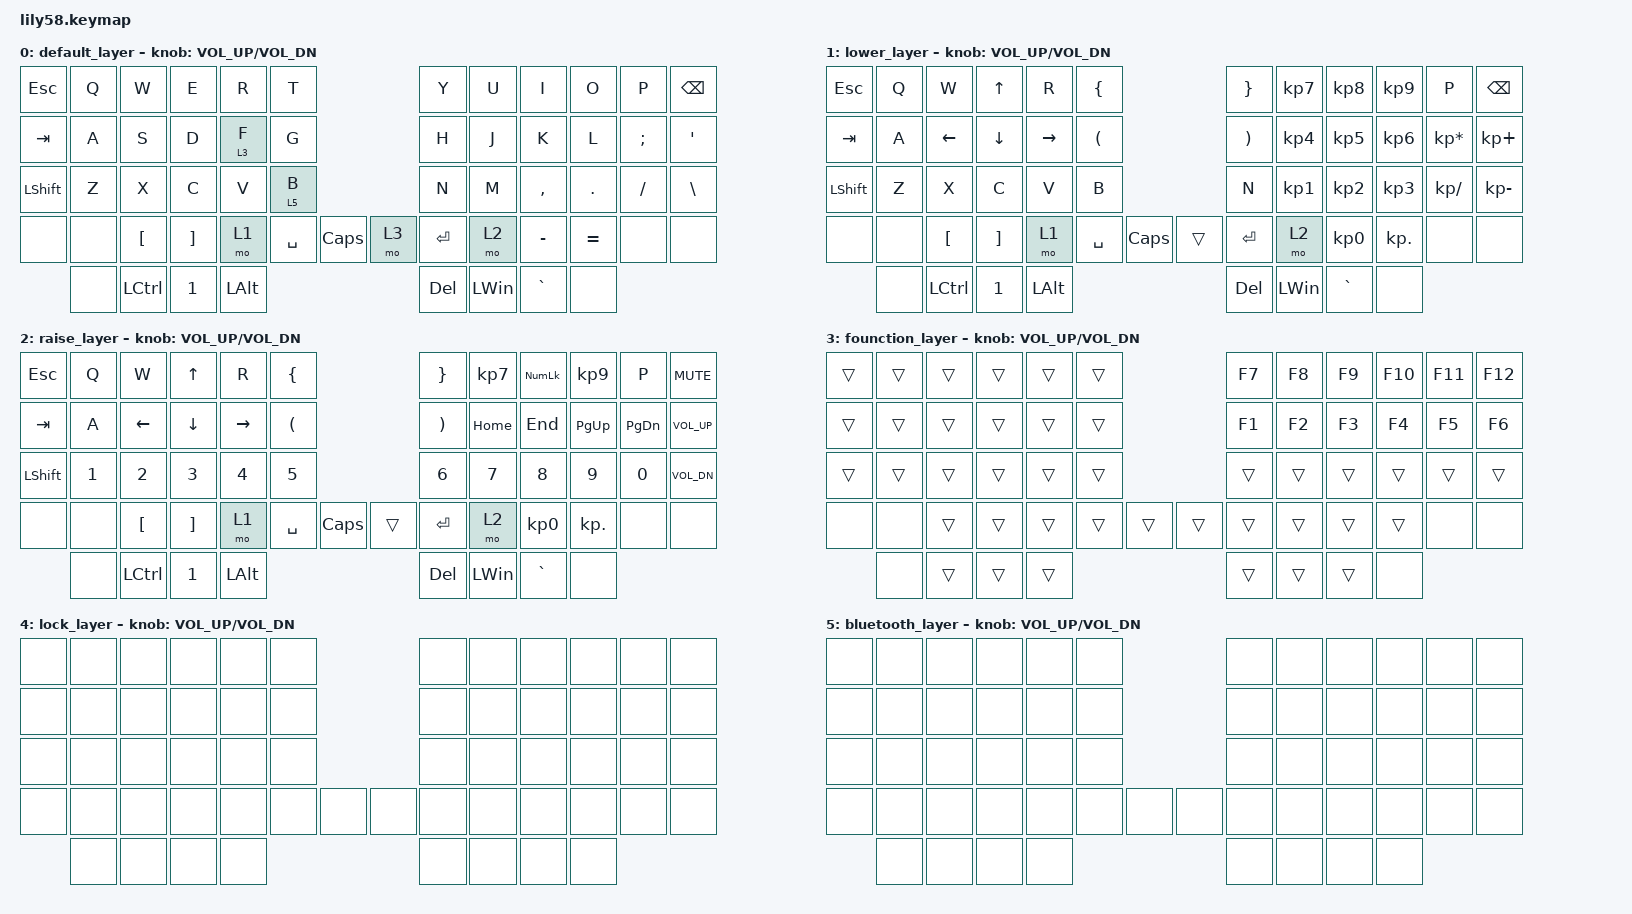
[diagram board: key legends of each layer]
/*
 * Copyright (c) 2020 The ZMK Contributors
 *
 * SPDX-License-Identifier: MIT
 */

#include <behaviors.dtsi>
#include <dt-bindings/zmk/keys.h>
#include <dt-bindings/zmk/bt.h>
#include <dt-bindings/zmk/ext_power.h>

/ {

    macros {
        macro_underscore: macro_underscore {    //ASCII码下划线宏
            compatible = "zmk,behavior-macro";
            #binding-cells = <0>;
            bindings
                = <&macro_press &kp LALT &mo 1>
                , <&macro_tap &kp KP_N9 &kp KP_N5>
                , <&macro_release &kp LALT &mo 1>
                ;
        };
        macro_multiply: macro_multiply {    //ASCII码乘号宏
            compatible = "zmk,behavior-macro";
            #binding-cells = <0>;
            bindings
                = <&macro_press &kp LALT &mo 1>
                , <&macro_tap &kp KP_N2 &kp KP_N1 &kp KP_N5>
                , <&macro_release &kp LALT &mo 1>
                ;
        };      
        macro_todo: macro_todo {    //todo list 宏
            compatible = "zmk,behavior-macro";
            #binding-cells = <0>;
            bindings
                = <&macro_tap &kp KP_MINUS &kp SPACE &kp LBKT &kp SPACE &kp RBKT &kp SPACE>
                ;
        };      
    };


    keymap {
        compatible = "zmk,keymap";

        default_layer {
// ------------------------------------------------------------------------------------------------------------
// |  ESC  |  1  |  2  |  3   |  4   |  5   |                   |  6   |  7    |  8    |  9   |   0   |   `   |
// |  TAB  |  Q  |  W  |  E   |  R   |  T   |                   |  Y   |  U    |  I    |  O   |   P   |   -   |
// |  CTRL |  A  |  S  |  D   |  F   |  G   |                   |  H   |  J    |  K    |  L   |   ;   |   '   |
// | SHIFT |  Z  |  X  |  C   |  V   |  B   |   "["  |  |  "]"  |  N   |  M    |  ,    |  .   |   /   | SHIFT |
//                     | ALT  | GUI  | LOWER|  SPACE |  | ENTER | RAISE| BSPC  | GUI   |
            bindings = <
&kp ESC         &kp Q     &kp W       &kp E      &kp R        &kp T                                 &kp Y      &kp U      &kp I       &kp O     &kp P       &kp BSPC
&kp TAB         &kp A     &kp S       &kp D      &lt 3 F      &kp G                                 &kp H      &kp J      &kp K       &kp L     &kp SEMI    &kp SQT
&kp LSHFT       &kp Z     &kp X       &kp C      &kp V        &lt 5 B                               &kp N      &kp M      &kp COMMA   &kp DOT   &kp SLASH   &kp BSLH
&none           &none     &kp LBKT    &kp RBKT   &mo 1        &kp SPACE    &kp CAPS       &mo 3     &kp ENTER  &mo 2      &kp MINUS   &kp EQUAL &none       &none
                &none     &kp LCTRL   &kp N1     &kp LALT                                           &kp DEL    &kp LWIN   &kp GRAVE   &none
            >;

            sensor-bindings = <&inc_dec_kp C_VOL_UP C_VOL_DN>;
        };

        lower_layer {
// ------------------------------------------------------------------------------------------------------------
// | BTCLR | BT1 | BT2 |  BT3 |  BT4 |  BT5 |                   |      |       |       |      |       |       |
// |  F1   |  F2 |  F3 |  F4  |  F5  |  F6  |                   |  F7  |  F8   |  F9   |  F10 |  F11  |  F12  |
// |   `   |  !  |  @  |  #   |  $   |  %   |                   |  ^   |  &    |  *    |  (   |   )   |   ~   |
// |       |     |     |      |      |      |        |  |       |      |  _    |  +    |  {   |   }   |  "|"  |
//                     |      |      |      |        |  |       |      |       |       |
            bindings = <
&kp ESC         &kp Q     &kp W       &kp UP     &kp R        &kp LBRC                                 &kp RBRC      &kp KP_N7      &kp KP_N8       &kp KP_N9       &kp P              &kp BSPC
&kp TAB         &kp A     &kp LEFT    &kp DOWN   &kp RIGHT    &kp LPAR                                 &kp RPAR      &kp KP_N4      &kp KP_N5       &kp KP_N6       &kp KP_MULTIPLY    &kp KP_PLUS
&kp LSHFT       &kp Z     &kp X       &kp C      &kp V        &kp B                                    &kp N         &kp KP_N1      &kp KP_N2       &kp KP_N3       &kp KP_DIVIDE      &kp KP_MINUS
&none           &none     &kp LBKT    &kp RBKT   &mo 1        &kp SPACE    &kp CAPS           &trans   &kp ENTER     &mo 2          &kp KP_N0       &kp KP_DOT      &none              &none
                &none     &kp LCTRL   &kp N1     &kp LALT                                              &kp DEL       &kp LWIN       &kp GRAVE       &none
            >;

            sensor-bindings = <&inc_dec_kp C_VOL_UP C_VOL_DN>;
        };

        raise_layer {
// ------------------------------------------------------------------------------------------------------------
// |       |     |     |      |      |      |                   |      |       |       |      |       |       |
// |   `   |  1  |  2  |  3   |  4   |  5   |                   |  6   |   7   |   8   |  9   |   0   |       |
// |   F1  |  F2 |  F3 |  F4  |  F5  |  F6  |                   |      |   <-  |   v   |  ^   |  ->   |       |
// |   F7  |  F8 |  F9 |  F10 |  F11 |  F12 |        |  |       |  +   |   -   |   =   |  [   |   ]   |   \   |
//                     |      |      |      |        |  |       |      |       |       |
            bindings = <
&kp ESC         &kp Q     &kp W       &kp UP     &kp R        &kp LBRC                                 &kp RBRC      &kp KP_N7      &kp KP_NUMLOCK   &kp KP_N9       &kp P              &kp C_MUTE
&kp TAB         &kp A     &kp LEFT    &kp DOWN   &kp RIGHT    &kp LPAR                                 &kp RPAR      &kp HOME       &kp END          &kp PG_UP       &kp PG_DN          &kp C_VOL_UP
&kp LSHFT       &kp N1    &kp N2      &kp N3     &kp N4       &kp N5                                   &kp N6        &kp N7         &kp N8           &kp N9          &kp N0             &kp C_VOL_DN
&none           &none     &kp LBKT    &kp RBKT   &mo 1        &kp SPACE    &kp CAPS           &trans   &kp ENTER     &mo 2          &kp KP_N0        &kp KP_DOT      &none              &none
                &none     &kp LCTRL   &kp N1     &kp LALT                                              &kp DEL       &kp LWIN       &kp GRAVE        &none
            >;

            sensor-bindings = <&inc_dec_kp C_VOL_UP C_VOL_DN>;
        };

        founction_layer {
// ------------------------------------------------------------------------------------------------------------
// |       |     |     |      |      |      |                   |      |       |       |      |       |       |
// |   `   |  1  |  2  |  3   |  4   |  5   |                   |  6   |   7   |   8   |  9   |   0   |       |
// |   F1  |  F2 |  F3 |  F4  |  F5  |  F6  |                   |      |   <-  |   v   |  ^   |  ->   |       |
// |   F7  |  F8 |  F9 |  F10 |  F11 |  F12 |        |  |       |  +   |   -   |   =   |  [   |   ]   |   \   |
//                     |      |      |      |        |  |       |      |       |       |
            bindings = <
&trans         &trans     &trans    &trans   &trans    &trans                                 &kp F7      &kp F8      &kp F9      &kp F10      &kp F11    &kp F12
&trans         &trans     &trans    &trans   &trans    &trans                                 &kp F1      &kp F2      &kp F3      &kp F4       &kp F5     &kp F6
&trans         &trans     &trans    &trans   &trans    &trans                                 &trans      &trans      &trans      &trans       &trans     &trans
&none          &none      &trans    &trans   &trans    &trans    &trans           &trans      &trans      &trans      &trans      &trans       &none      &none
               &none      &trans    &trans   &trans                                           &trans      &trans      &trans      &none
            >;

            sensor-bindings = <&inc_dec_kp C_VOL_UP C_VOL_DN>;
        };

        lock_layer {
// ------------------------------------------------------------------------------------------------------------
// |       |     |     |      |      |      |                   |      |       |       |      |       |       |
// |   `   |  1  |  2  |  3   |  4   |  5   |                   |  6   |   7   |   8   |  9   |   0   |       |
// |   F1  |  F2 |  F3 |  F4  |  F5  |  F6  |                   |      |   <-  |   v   |  ^   |  ->   |       |
// |   F7  |  F8 |  F9 |  F10 |  F11 |  F12 |        |  |       |  +   |   -   |   =   |  [   |   ]   |   \   |
//                     |      |      |      |        |  |       |      |       |       |
            bindings = <
&none         &none     &none    &none   &none    &none                                 &none      &none      &none      &none      &none      &none
&none         &none     &none    &none   &none    &none                                 &none      &none      &none      &none       &none     &none
&none         &none     &none    &none   &none    &none                                 &none      &none      &none      &none       &none     &none
&none         &none     &none    &none   &none    &none    &none           &none        &none      &none      &none      &none       &none     &none
              &none     &none    &none   &none                                          &none      &none      &none      &none
            >;

            sensor-bindings = <&inc_dec_kp C_VOL_UP C_VOL_DN>;
        };

        bluetooth_layer {
// ------------------------------------------------------------------------------------------------------------
// |       |     |     |      |      |      |                   |      |       |       |      |       |       |
// |   `   |  1  |  2  |  3   |  4   |  5   |                   |  6   |   7   |   8   |  9   |   0   |       |
// |   F1  |  F2 |  F3 |  F4  |  F5  |  F6  |                   |      |   <-  |   v   |  ^   |  ->   |       |
// |   F7  |  F8 |  F9 |  F10 |  F11 |  F12 |        |  |       |  +   |   -   |   =   |  [   |   ]   |   \   |
//                     |      |      |      |        |  |       |      |       |       |
            bindings = <
&none         &none     &none    &none   &none    &none                                 &none      &none      &none      &none      &none      &none
&none         &none     &none    &none   &none    &none                                 &none      &none      &none      &none       &none     &none
&none         &none     &none    &none   &none    &none                                 &none      &none      &none      &none       &none     &none
&none         &none     &none    &none   &none    &none    &none           &none        &none      &none      &none      &none       &none     &none
              &none     &none    &none   &none                                          &none      &none      &none      &none
            >;

            sensor-bindings = <&inc_dec_kp C_VOL_UP C_VOL_DN>;
        };

    };

    combos {
        compatible = "zmk,combos";
        combo_tab { //A+S=Tab
            timeout-ms = <50>;
            key-positions = <13 14>;
            bindings = <&kp TAB>;
            layers = <0>;
        };
        combo_underscore {  //B+N=_ (通过ASCII码的宏实现，宏定义见文件开头)
            timeout-ms = <50>;
            key-positions = <29 30>;
            bindings = <&macro_underscore>;
            layers = <0>;
        };
        combo_minus {   //G+H=-
            timeout-ms = <50>;
            key-positions = <17 18>;
            bindings = <&kp KP_MINUS>;
            layers = <0>;
        };       
        combo_LeftBrace {   //V+B={
            timeout-ms = <50>;
            key-positions = <28 29>;
            bindings = <&kp LBRC>;
            layers = <0>;
        };    
        combo_RightBrace {  //N+M=}
            timeout-ms = <50>;
            key-positions = <30 31>;
            bindings = <&kp RBRC>;
            layers = <0>;
        };        
        combo_LeftParenthesis { //F+G=(
            timeout-ms = <50>;
            key-positions = <16 17>;
            bindings = <&kp LPAR>;
            layers = <0>;
        };          
        combo_RightParenthesis {    //H+J=)
            timeout-ms = <50>;
            key-positions = <18 19>;
            bindings = <&kp RPAR>;
            layers = <0>;
        };   
        combo_LeftBracket { //R+T=[
            timeout-ms = <50>;
            key-positions = <4 5>;
            bindings = <&kp LBKT>;
            layers = <0>;
        };    
        combo_RightBracket {    //Y+U=]
            timeout-ms = <50>;
            key-positions = <6 7>;
            bindings = <&kp RBKT>;
            layers = <0>;
        };
        combo_equal {   //"/?"+"\|"="="(默认层和数字层均生效)
            timeout-ms = <50>;
            key-positions = <34 35>;
            bindings = <&kp EQUAL>;
            layers = <0 1>;
        };  
        combo_dot { //".>"+"/?"="."(仅在数字层生效)
            timeout-ms = <50>;
            key-positions = <33 34>;
            bindings = <&kp KP_DOT>;
            layers = <1>;
        };                   
        combo_tilde {   //T+Y=_或——(根据输入法状态输出不同)
            timeout-ms = <50>;
            key-positions = <5 6>;
            bindings = <&kp UNDER>;
            layers = <0>;
        };     
        combo_grave {   //esc+Q=`或~
            timeout-ms = <50>;
            key-positions = <0 1>;
            bindings = <&kp GRAVE>;
            layers = <0>;
        };    
        combo_caps {    //alt+A=CAPS
            timeout-ms = <50>;
            key-positions = <12 13>;
            bindings = <&kp CAPS>;
            layers = <0>;
        };   
        combo_multiply {    //;+'=乘号（通过ASCII码宏实现）
            timeout-ms = <50>;
            key-positions = <22 23>;
            bindings = <&macro_multiply>;
            layers = <0>;
        };   
        combo_lock {    //Y+L+ENTER=锁定键盘（只能再次按该组合键退出）
            timeout-ms = <100>;
            key-positions = <6 21 44>;
            bindings = <&tog 4>;
        };   
        combo_LeftBackSpace {   //B+S=Backspace(左手退格键)
            timeout-ms = <50>;
            key-positions = <14 29>;
            bindings = <&kp BSPC>;
            layers = <0>;
        };   
        combo_todo {    //T+D=Markdown中todo list快捷键
            timeout-ms = <50>;
            key-positions = <5 15>;
            bindings = <&macro_todo>;
            layers = <0>;
        };   
        combo_bt0 {     //先按住B进入蓝牙层，然后同时按ESC+左手切层键+右手数字键切换蓝牙配置文件
            timeout-ms = <100>;
            key-positions = <0 40 46>;
            bindings = <&bt BT_SEL 0>;
            layers = <5>;
        };   
        combo_bt1 {
            timeout-ms = <100>;
            key-positions = <0 31 40>;
            bindings = <&bt BT_SEL 1>;
            layers = <5>;
        };   
        combo_bt2 {
            timeout-ms = <100>;
            key-positions = <0 32 40>;
            bindings = <&bt BT_SEL 2>;
            layers = <5>;
        };   
        combo_bt3 {
            timeout-ms = <100>;
            key-positions = <0 33 40>;
            bindings = <&bt BT_SEL 3>;
            layers = <5>;
        };   
        combo_bt4 {     //该文件暂无法使用，原因未知
            timeout-ms = <100>;
            key-positions = <0 40 37>;
            bindings = <&bt BT_SEL 4>;
            layers = <5>;
        };   
        combo_BtClr {   //清除当前蓝牙配置文件，先按住B进入蓝牙层，然后同时按C+左手切层键+L
            timeout-ms = <100>;
            key-positions = <21 27 40>;
            bindings = <&bt BT_CLR>;
            layers = <5>;
        };    
        combo_LeftEnter {   //左手回车 W+E+R
            timeout-ms = <50>;
            key-positions = <2 3 4>;
            bindings = <&kp ENTER>;
            layers = <0>;
        };    
        combo_LeftDelete {   //左手删除  D+E
            timeout-ms = <50>;
            key-positions = <3 15>;
            bindings = <&kp DEL>;
            layers = <0>;
        };     
};




    
};
